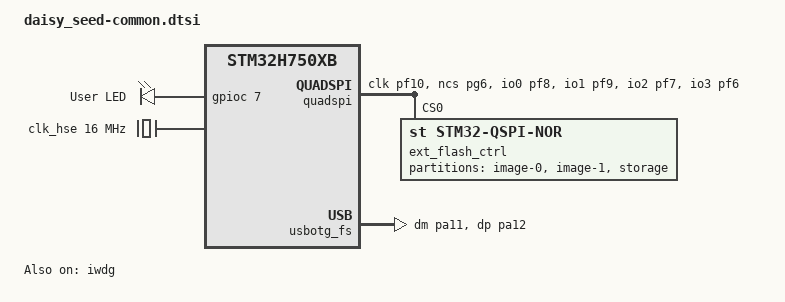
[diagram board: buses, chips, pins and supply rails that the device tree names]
/*
 * Electrosmith Daisy Seed (Rev7 / Seed 1.2) – hardware shared by all targets of the board.
 *
 * Clocks, the user LED, the pin header, the USB console and the QSPI flash. SDRAM is added when
 * something needs it.
 */

#include <st/h7/stm32h750Xb.dtsi>
#include <st/h7/stm32h750ibkx-pinctrl.dtsi>
#include "daisy_seed_connector.dtsi"

/ {
	chosen {
		zephyr,sram = &sram0;
	};

	leds {
		compatible = "gpio-leds";

		user_led: led-user {
			gpios = <&gpioc 7 GPIO_ACTIVE_HIGH>; /* PC7, the LED next to the BOOT button */
			label = "User LED";
		};
	};

	aliases {
		led0 = &user_led;
		watchdog0 = &iwdg;
	};
};

/* Independent watchdog: it runs only once an app sets it up. */
&iwdg {
	status = "okay";
};

/* 48 MHz internal oscillator: the USB clock. */
&clk_hsi48 {
	status = "okay";
};

/* 16 MHz crystal. */
&clk_hse {
	clock-frequency = <DT_FREQ_M(16)>;
	status = "okay";
};

/* 16 MHz / 4 = 4 MHz, x 240 = 960 MHz (VCO); / 2 = 480 MHz CPU clock. */
&pll {
	div-m = <4>;
	mul-n = <240>;
	div-p = <2>;
	div-q = <4>;
	div-r = <4>;
	clocks = <&clk_hse>;
	status = "okay";
};

/* CPU 480 MHz, AHB 240 MHz, APB buses 120 MHz (the chip's maximums). */
&rcc {
	clocks = <&pll>;
	clock-frequency = <DT_FREQ_M(480)>;
	d1cpre = <1>;
	hpre = <2>;
	d1ppre = <2>;
	d2ppre1 = <2>;
	d2ppre2 = <2>;
	d3ppre = <2>;
};

&pwr {
	power-supply = "ldo";
};

&flash0 {
	status = "okay";

	partitions {
		compatible = "fixed-partitions";
		#address-cells = <1>;
		#size-cells = <1>;

		/* The internal flash is a single 128 KB sector: all of it for MCUboot. */
		boot_partition: partition@0 {
			label = "mcuboot";
			reg = <0x00000000 DT_SIZE_K(128)>;
		};
	};
};

/* 8 MB QSPI NOR flash, IS25LP064A (pins and chip from libDaisy, src/daisy_seed.cpp). */
&quadspi {
	pinctrl-0 = <&quadspi_clk_pf10 &quadspi_bk1_ncs_pg6
		     &quadspi_bk1_io0_pf8 &quadspi_bk1_io1_pf9
		     &quadspi_bk1_io2_pf7 &quadspi_bk1_io3_pf6>;
	pinctrl-names = "default";
	status = "okay";

	ext_flash_ctrl: qspi-flash-controller@0 {
		compatible = "st,stm32-qspi-nor";
		reg = <0>;
		size = <DT_SIZE_M(64)>; /* in bits: 64 Mbit = 8 MB */
		qspi-max-frequency = <80000000>; /* the chip allows 133 MHz */
		cs-high-time = <4>;
		spi-bus-width = <4>;
		/*
		 * Quad page program with the address on one line (0x32). The driver's default, PP_1_4_4
		 * (0x38, address on four lines), is the same 1-1-4 command on the IS25LP064A, so the chip
		 * misreads the address and the data lands in the wrong place.
		 */
		writeoc = "PP_1_1_4";
		status = "okay";

		#address-cells = <1>;
		#size-cells = <1>;
		ranges = <0x0 0x90000000 DT_SIZE_M(8)>; /* memory-mapped at 0x90000000 */

		ext_flash: ext-flash@0 {
			compatible = "soc-nv-flash";
			reg = <0x0 DT_SIZE_M(8)>;
			write-block-size = <1>;
			erase-block-size = <DT_SIZE_K(4)>; /* 4 KB sectors */

			/* Shared by MCUboot and the ram_load target: the two must agree. */
			partitions {
				compatible = "fixed-partitions";
				#address-cells = <1>;
				#size-cells = <1>;

				/* Application images. MCUboot copies the newest one into AXI SRAM. */
				slot0_partition: partition@0 {
					label = "image-0";
					reg = <0x000000 DT_SIZE_M(1)>;
				};

				slot1_partition: partition@100000 {
					label = "image-1";
					reg = <0x100000 DT_SIZE_M(1)>;
				};

				/* NVS (Settings): P02's `store`. */
				storage_partition: partition@200000 {
					label = "storage";
					reg = <0x200000 DT_SIZE_K(64)>;
				};
			};
		};
	};
};

/* The micro-USB port. The console is a USB serial port (CDC ACM), see Kconfig.defconfig. */
zephyr_udc0: &usbotg_fs {
	pinctrl-0 = <&usb_otg_fs_dm_pa11 &usb_otg_fs_dp_pa12>;
	pinctrl-names = "default";
	status = "okay";
};

#include <../boards/common/usb/cdc_acm_serial.dtsi>
